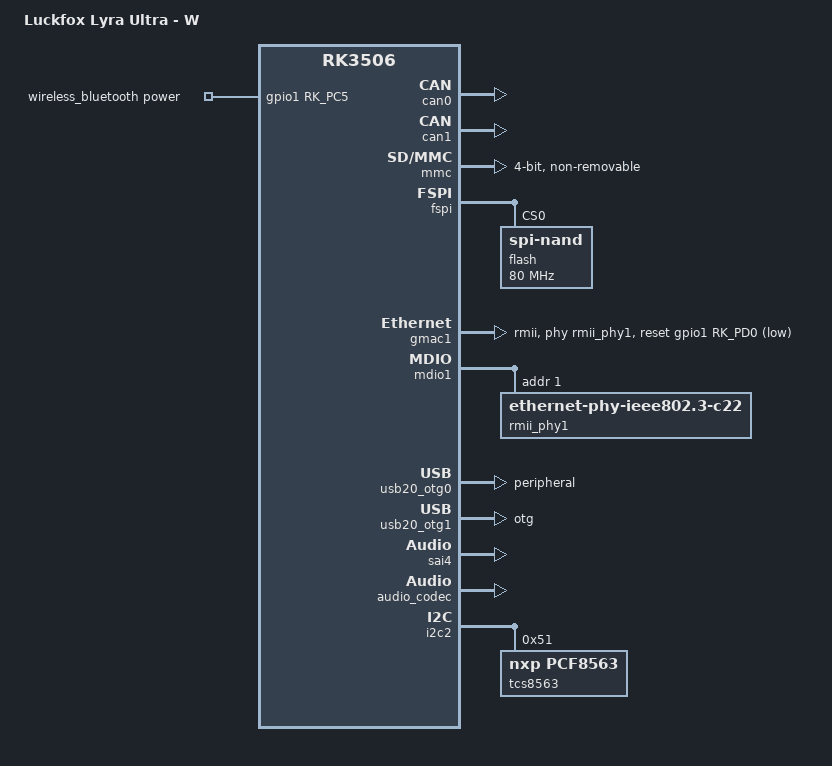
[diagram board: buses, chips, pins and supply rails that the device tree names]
// SPDX-License-Identifier: (GPL-2.0+ OR MIT)
/*
 * Copyright (c) 2024 Rockchip Electronics Co., Ltd.
 */

/dts-v1/;

#include "rk3506-luckfox-lyra-ultra.dtsi"

/ {
	model = "Luckfox Lyra Ultra - W";
	compatible = "rockchip,rk3506";

	chosen {
		bootargs = "earlycon=uart8250,mmio32,0xff0a0000 console=ttyFIQ0 rootwait snd_aloop.index=7 snd_aloop.use_raw_jiffies=1";
	};

	mcu_rproc: mcu@fff84000 {
		compatible = "rockchip,rk3506-mcu";
		reg = <0xfff84000 0x8000>;
		firmware-name = "rk3506-m0.elf";

                clocks = <&cru HCLK_M0>, <&cru STCLK_M0>;
                clock-names = "hclk", "stclk";

                /* Switch HCLK_M0 to GPLL and set to 200 MHz */
	        assigned-clocks = <&cru HCLK_M0>;
	        assigned-clock-parents = <&cru PLL_GPLL>;
	        assigned-clock-rates = <200000000>;

		resets = <&cru SRST_H_M0>, <&cru SRST_M0_JTAG>, <&cru SRST_HRESETN_M0_AC>;
		reset-names = "h_m0", "m0_jtag", "hresetn_m0_ac";
	};

	wireless_bluetooth: wireless-bluetooth {
		compatible = "bluetooth-platdata";
		BT,power_gpio = <&gpio1 RK_PC5 GPIO_ACTIVE_HIGH>;
		status = "okay";
	};

};

&cpu0 {
	/delete-property/ cpu-supply;
};

&reserved_memory {
	/* remote amp core address */
	amp_shmem_reserved: amp-shmem@3b00000 {
		reg = <0x03b00000 0x100000>;
    	no-map;
	};

	rpmsg_reserved: rpmsg@3c00000 {
		reg = <0x03c00000 0x100000>;
    	no-map;
	};

	rpmsg_dma_reserved: rpmsg-dma@3d00000 {
		compatible = "shared-dma-pool";
		reg = <0x03d00000 0x100000>;
    	no-map;
	};

	/* mcu address */
	mcu_reserved: mcu@fff80000 {
		reg = <0xfff80000 0xc000>;
    	no-map;
	};
};

&can0 {
	status = "okay";
};

&can1 {
	status = "okay";
};


/**********media**********/
&mmc{
	/* For eMMC */
	max-frequency = <52000000>;
	mmc-ddr-1_8v;
	bus-width = <4>;
	supports-emmc;
	cap-mmc-highspeed;
	disable-wp;
	//no-sd;
	//no-sdio;
	non-removable;
	pinctrl-names = "default";
	pinctrl-0 = <&sdmmc_clk_pins &sdmmc_cmd_pins &sdmmc_bus4_pins>;
	status = "okay";
};

&fspi {
	status = "okay";

	flash@0 {
		compatible = "spi-nand";
		reg = <0>;
		spi-max-frequency = <80000000>;
		spi-rx-bus-width = <4>;
		spi-tx-bus-width = <1>;
	};
};

/**********display**********/
&cma {
	size = <0x2000000>;
};

&display_subsystem {
	logo-memory-region = <&drm_logo>;
	status = "disabled";
};

&dsi {
	status = "disabled";
};

&dsi_dphy {
	status = "disabled";
};

&dsi_in_vop {
	status = "disabled";
};

&route_dsi {
	status = "disabled";
};

/**********ethernet**********/
&gmac1 {
	phy-mode = "rmii";
	clock_in_out = "output";

	snps,reset-gpio = <&gpio1 RK_PD0 GPIO_ACTIVE_LOW>;
	snps,reset-active-low;
	snps,reset-delays-us = <0 20000 100000>;

	pinctrl-names = "default";
	pinctrl-0 = <&eth_rmii1_miim_pins &eth_rmii1_tx_bus2_pins &eth_rmii1_rx_bus2_pins &eth_rmii1_clk_pins>;

	phy-handle = <&rmii_phy1>;
	status = "okay";
};

&mdio1 {
	rmii_phy1: phy@1 {
		compatible = "ethernet-phy-ieee802.3-c22";
		reg = <0x1>;
	};
};

/**********usb**********/
&usb20_otg0 {
	dr_mode = "peripheral";
	status = "okay";
};

&usb20_otg1 {
	dr_mode = "otg";
	status = "okay";
};

/**********audio**********/
&sai4 {
	status = "okay";
};

&audio_codec {
	status = "okay";
};

&i2c2 {
	status = "okay";

	tcs8563: tcs8563@51 {
		status = "okay";
		compatible = "nxp,pcf8563";
		reg = <0x51>;
		#clock-cells = <0>;
	};
};

/**********pinctrl**********/
&pinctrl {
	lcd {
		lcd_pwren_h: lcd-pwren-h {
			rockchip,pins = <1 RK_PC4 RK_FUNC_GPIO &pcfg_pull_up>;
		};
	};

	acodec-dsm {
		/omit-if-no-ref/
		dsm_spk_ctrl: dsm-spk-ctrl {
			rockchip,pins = <1 RK_PC6 RK_FUNC_GPIO &pcfg_pull_none>;
		};
	};

	dsm_aud {
		/omit-if-no-ref/
		dsm_audm1_pins: dsm-audm1-pins {
			rockchip,pins =
				/* dsm_aud_rn_m1 */
				<2 RK_PB4 2 &pcfg_pull_none>,
				/* dsm_aud_rp_m1 */
				<2 RK_PB5 2 &pcfg_pull_none>;
		};

		/omit-if-no-ref/
		dsm_audm1_iodown_pins: dsm-audm1-iodown-pins {
			rockchip,pins =
				/* dsm_aud_rn_m1 */
				<2 RK_PB4 RK_FUNC_GPIO &pcfg_pull_down>,
				/* dsm_aud_rp_m1 */
				<2 RK_PB5 RK_FUNC_GPIO &pcfg_pull_down>;
		};
	};

};
